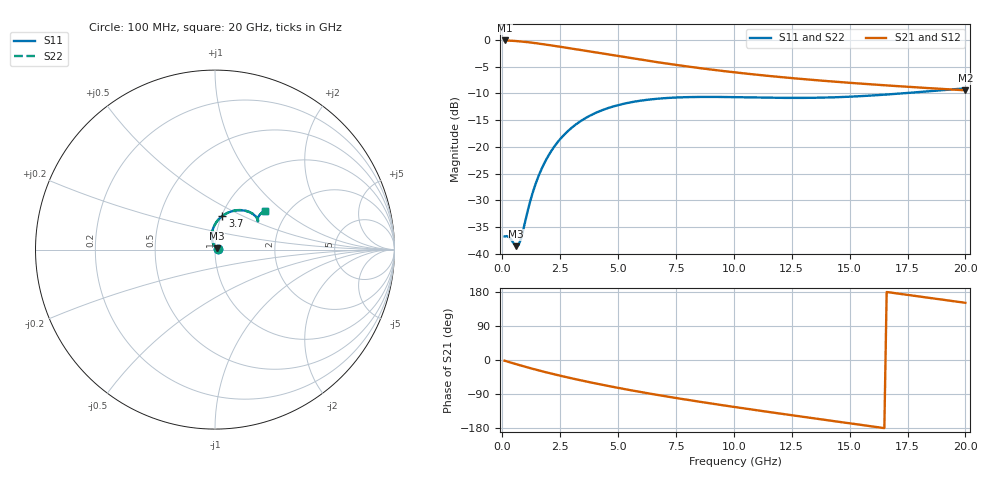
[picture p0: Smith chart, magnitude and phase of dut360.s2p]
! Touchstone file exported from HFSS 2024.1.0
!  File:  C:/UserFiles/LocalFiles/RDL_TSV_Batchsim/temp_RDL_TSV_360_1779640109.aedt
!  Generated:  12:47:13 AM May 25, 2026
!  Design:  RDL_TSV
!  Project:  temp_RDL_TSV_360_1779640109
!  Setup:  Setup1
!  Solution:  Sweep
! Variables:
!  dtsv = 12.54um
!  hbump = 3um
!  htsv = 60.59um
!  ldown = 611.09um
!  lrdl = 311.26um
!  p = 40
!  p1 = 53.12um
!  rhole = 10um
!  subl = 3078.31um
!  t = 450um
!  tdown = 4.25um
!  trdl = 4.28um
!  viad = 10um
!  wdown = 29.52um
!  wrdl = 11.59um
!  xbump = 18um
# GHz S MA R 50.000000
! Terminal data exported
! Port[1] = TM1_1_T1
! Port[2] = TM1_4_T1
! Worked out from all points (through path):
!   200 points, 100 MHz to 20 GHz, reference 50 ohm
!   highest |S21| = -0.13 dB at 100 MHz (marker M1); lowest = -9.4 dB at 20 GHz (marker M2)
!   group delay of S21, straight-line fit = 27.3 ps
!   lowest |S11| = -38.6 dB at 600 MHz (marker M3), VSWR 1.02, Z = 50.8 + j0.836 ohm
!   |S11| at or under -10 dB: start of sweep to 17.33 GHz
!   |S22| runs from -38.6 to -9.1 dB; largest |S21 - S12| = 1.5e-13
!   S11 on the Smith chart (normalised r, x): 100 MHz: 1.03, +0.00; 3.7 GHz: 1.01, +0.39; 20 GHz: 1.54, +0.76
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0.1  0.01454 6.4  0.985 -1.9  0.985 -1.9  0.01454 6.4
! Gamma 0 0 0 0
! Port Impedance 50 0 50 0
0.3  0.01427 15.8  0.9814 -5.6  0.9814 -5.6  0.01427 15.8
0.6  0.0118 44.2  0.9723 -11.0  0.9723 -11.0  0.01179 44.3
0.7  0.01206 60.5  0.9683 -12.8  0.9683 -12.8  0.01206 60.7
0.8  0.01367 76.4  0.964 -14.6  0.964 -14.6  0.01368 76.6
1.1  0.02533 102.1  0.9491 -19.7  0.9491 -19.7  0.02539 102.2
1.3  0.03644 106.7  0.9377 -23.1  0.9377 -23.1  0.03653 106.8
1.6  0.05556 106.8  0.9193 -27.9  0.9193 -27.9  0.05569 106.9
1.9  0.07618 103.8  0.8999 -32.6  0.8999 -32.6  0.07636 103.9
2.2  0.09725 99.7  0.8801 -37.1  0.8801 -37.1  0.09748 99.7
2.6  0.1248 93.6  0.8534 -42.9  0.8534 -42.9  0.1251 93.7
3  0.1509 87.6  0.827 -48.4  0.827 -48.4  0.1513 87.6
3.5  0.1803 80.4  0.7945 -55.1  0.7945 -55.1  0.1808 80.5
3.7  0.191 77.7  0.7818 -57.7  0.7818 -57.7  0.1915 77.8
5  0.245 62.6  0.7039 -73.5  0.7039 -73.5  0.2457 62.7
6.8  0.2824 47.9  0.6124 -93.2  0.6124 -93.2  0.2834 48.0
8.4  0.2922 39.7  0.5479 -109.0  0.5479 -109.0  0.2932 39.8
10.1  0.2908 34.9  0.4943 -124.7  0.4943 -124.7  0.2919 35.0
11.7  0.2871 33.5  0.4549 -138.8  0.4549 -138.8  0.2882 33.5
13.4  0.2869 34.1  0.4217 -153.4  0.4217 -153.4  0.288 34.2
16.7  0.309 37.5  0.3733 178.6  0.3733 178.6  0.31 37.5
20  0.3516 37.8  0.3371 150.9  0.3371 150.9  0.3526 37.8
